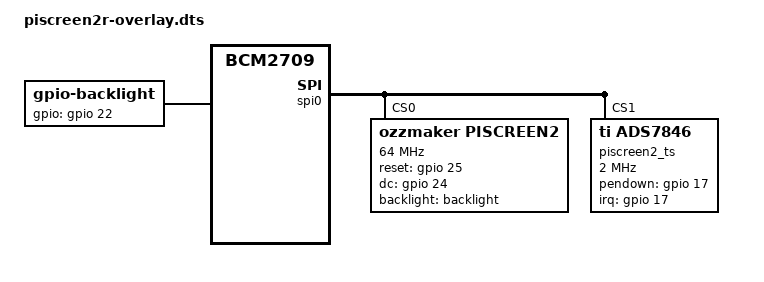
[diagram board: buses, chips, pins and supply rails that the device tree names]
 /*
 * Device Tree overlay for PiScreen2 3.5" TFT with resistive touch  by Ozzmaker.com
 *
 */

/dts-v1/;
/plugin/;

/ {
	compatible = "brcm,bcm2835", "brcm,bcm2708", "brcm,bcm2709";

	fragment@0 {
		target = <&spi0>;
		__overlay__ {
			status = "okay";

			spidev@0{
				status = "disabled";
			};

			spidev@1{
				status = "disabled";
			};
		};
	};

	fragment@1 {
		target = <&gpio>;
		__overlay__ {
			piscreen2_pins: piscreen2_pins {
				brcm,pins = <17 25 24 22>;
				brcm,function = <0 1 1 1>; /* in out out out */
			};
		};
	};

	fragment@2 {
		target = <&spi0>;
		__overlay__ {
			/* needed to avoid dtc warning */
			#address-cells = <1>;
			#size-cells = <0>;

			piscreen2: piscreen2@0{
				compatible = "ozzmaker,piscreen2";
				pinctrl-names = "default";
				pinctrl-0 = <&piscreen2_pins>;

				reg = <0>;
				spi-max-frequency = <64000000>;

				rotation = <0>;
				reset-gpios = <&gpio 25 0>;
				dc-gpios = <&gpio 24 0>;
				backlight = <&backlight>;
			};

			piscreen2_ts: piscreen2-ts@1 {
				compatible = "ti,ads7846";
				reg = <1>;

				spi-max-frequency = <2000000>;
				interrupts = <17 2>; /* high-to-low edge triggered */
				interrupt-parent = <&gpio>;
				pendown-gpio = <&gpio 17 0>;
				ti,swap-xy;
				ti,x-plate-ohms = /bits/ 16 <100>;
				ti,pressure-max = /bits/ 16 <255>;
			};
		};
	};

	fragment@3 {
		target-path = "/soc";
		__overlay__ {
			backlight: backlight {
				compatible = "gpio-backlight";
				gpios = <&gpio 22 0>;
			};
		};
	};

	__overrides__ {
		speed =		<&piscreen2>,"spi-max-frequency:0";
		rotation =	<&piscreen2>,"rotation:0";
		xohms =		<&piscreen2_ts>,"ti,x-plate-ohms;0";
	};
};

